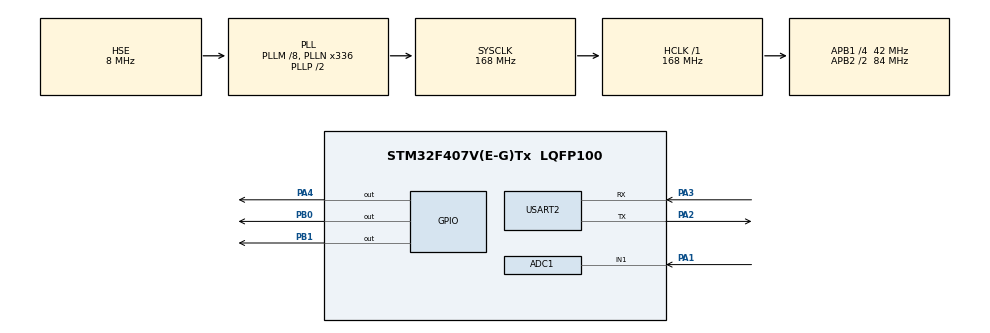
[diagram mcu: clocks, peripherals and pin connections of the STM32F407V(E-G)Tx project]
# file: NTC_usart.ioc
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ADC1.Channel-0\#ChannelRegularConversion=ADC_CHANNEL_1
ADC1.NbrOfConversionFlag=1
ADC1.Rank-0\#ChannelRegularConversion=1
ADC1.SamplingTime-0\#ChannelRegularConversion=ADC_SAMPLETIME_3CYCLES
ADC1.master=1
Mcu.Family=STM32F4
Mcu.Name=STM32F407V(E-G)Tx
Mcu.Package=LQFP100
NVIC.PriorityGroup=NVIC_PRIORITYGROUP_0
PA1.GPIO_PuPd=GPIO_NOPULL
PA1.Signal=ADCx_IN1
PA13.Mode=Serial_Wire
PA13.Signal=SYS_JTMS-SWDIO
PA14.Mode=Serial_Wire
PA14.Signal=SYS_JTCK-SWCLK
PA2.Mode=Asynchronous
PA2.Signal=USART2_TX
PA3.Mode=Asynchronous
PA3.Signal=USART2_RX
PA4.Signal=GPIO_Output
PB0.PinState=GPIO_PIN_SET
PB0.Signal=GPIO_Output
PB1.PinState=GPIO_PIN_SET
PB1.Signal=GPIO_Output
PH0-OSC_IN.Mode=HSE-External-Oscillator
PH0-OSC_IN.Signal=RCC_OSC_IN
PH1-OSC_OUT.Mode=HSE-External-Oscillator
PH1-OSC_OUT.Signal=RCC_OSC_OUT
ProjectManager.HeapSize=0x200
ProjectManager.StackSize=0x400
ProjectManager.TargetToolchain=STM32CubeIDE
RCC.48MHZClocksFreq_Value=48000000
RCC.AHBFreq_Value=168000000
RCC.APB1CLKDivider=RCC_HCLK_DIV4
RCC.APB1Freq_Value=42000000
RCC.APB1TimFreq_Value=84000000
RCC.APB2CLKDivider=RCC_HCLK_DIV2
RCC.APB2Freq_Value=84000000
RCC.APB2TimFreq_Value=168000000
RCC.CortexFreq_Value=168000000
RCC.HCLKFreq_Value=168000000
RCC.HSE_VALUE=8000000
RCC.HSI_VALUE=16000000
RCC.LSE_VALUE=32768
RCC.PLLM=8
RCC.PLLN=336
RCC.PLLQ=7
RCC.PLLSourceVirtual=RCC_PLLSOURCE_HSE
RCC.SYSCLKFreq_VALUE=168000000
RCC.SYSCLKSource=RCC_SYSCLKSOURCE_PLLCLK
RCC.VCOOutputFreq_Value=336000000
SH.ADCx_IN1.0=ADC1_IN1,IN1
USART2.VirtualMode=VM_ASYNC
board=STM32F407G-DISC1

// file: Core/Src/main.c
/* USER CODE BEGIN Header */
/**
  ******************************************************************************
  * @file           : main.c
  * @brief          : Main program body
  ******************************************************************************
  * @attention
  *
  * Copyright (c) 2023 STMicroelectronics.
  * All rights reserved.
  *
  * This software is licensed under terms that can be found in the LICENSE file
  * in the root directory of this software component.
  * If no LICENSE file comes with this software, it is provided AS-IS.
  *
  ******************************************************************************
  */
/* USER CODE END Header */
#include "main.h"
#include "stdio.h"
#include "math.h"

ADC_HandleTypeDef hadc1;

UART_HandleTypeDef huart2;

/* USER CODE BEGIN PV */
uint16_t adcValue=0;
uint16_t temperature=0;
char message[25];
char uyari[30]="SICAKLIK UYGUN DEGİL!!\n";
char sogutma[30]="ORTAM SOGUTULUYOR\n";
/* USER CODE END PV */

void SystemClock_Config(void);
static void MX_GPIO_Init(void);
static void MX_ADC1_Init(void);
static void MX_USART2_UART_Init(void);

/* USER CODE BEGIN 0 */
uint16_t adcRead(){
	HAL_ADC_Start(&hadc1);
	 if(HAL_ADC_PollForConversion(&hadc1, 100)==HAL_OK){
		 adcValue=HAL_ADC_GetValue(&hadc1);
	 }
	 HAL_ADC_Stop(&hadc1);
	 return adcValue;
}
double fhToCn(uint16_t adcValue){
	double temp=0;
	temp=log(((40950000/adcValue)-10000));
	temp=1/(0.001129148 +(0.000234125  +(0.0000000876741*temp*temp))*temp);
	temp=temp-273.15;
	return temp;

}

/* USER CODE END 0 */

int main(void)
{

  /* MCU Configuration--------------------------------------------------------*/

  /* Reset of all peripherals, Initializes the Flash interface and the Systick. */
  HAL_Init();

  /* Configure the system clock */
  SystemClock_Config();

  /* Initialize all configured peripherals */
  MX_GPIO_Init();
  MX_ADC1_Init();
  MX_USART2_UART_Init();

  /* Infinite loop */
  while (1)
  {

    /* USER CODE BEGIN 3 */
	  adcValue=adcRead();
	  temperature=fhToCn(adcValue);
	  sprintf(message,"Sıcaklık Değeri: %d\n",temperature);
	  /*HAL_UART_Transmit(&huart2, (uint8_t*)message,sizeof(message),100);
	  HAL_Delay(400);*/
	  if(temperature>0 && temperature<=45){
		  HAL_UART_Transmit(&huart2, (uint8_t*)message,sizeof(message),100);
		  HAL_Delay(100);

		  if(temperature>30){
			  HAL_GPIO_WritePin(GPIOB, GPIO_PIN_0, GPIO_PIN_SET);
			  HAL_GPIO_WritePin(GPIOB, GPIO_PIN_1, GPIO_PIN_RESET);
			  HAL_UART_Transmit(&huart2, (uint8_t*)sogutma,sizeof(sogutma),100);
			  HAL_Delay(500);
			  HAL_UART_Transmit(&huart2, (uint8_t*)message,sizeof(message),100);

		  }
		  else if(temperature<=39){

			  HAL_GPIO_WritePin(GPIOB, GPIO_PIN_0, GPIO_PIN_RESET);
			  HAL_GPIO_WritePin(GPIOB, GPIO_PIN_1, GPIO_PIN_RESET);

		  }

		  //HAL_GPIO_WritePin(GPIOA, GPIO_PIN_4, GPIO_PIN_RESET);
	  }
	  else{
		  HAL_UART_Transmit(&huart2, (uint8_t*)message,sizeof(message),100);
		  HAL_Delay(400);
		  HAL_UART_Transmit(&huart2, (uint8_t*)uyari,sizeof(uyari),100);
		  HAL_Delay(400);

		  //HAL_GPIO_WritePin(GPIOA, GPIO_PIN_4, GPIO_PIN_SET);

	  }

  }
  /* USER CODE END 3 */
}

void SystemClock_Config(void)
{
  RCC_OscInitTypeDef RCC_OscInitStruct = {0};
  RCC_ClkInitTypeDef RCC_ClkInitStruct = {0};

  /** Configure the main internal regulator output voltage
  */
  __HAL_RCC_PWR_CLK_ENABLE();
  __HAL_PWR_VOLTAGESCALING_CONFIG(PWR_REGULATOR_VOLTAGE_SCALE1);

  /** Initializes the RCC Oscillators according to the specified parameters
  * in the RCC_OscInitTypeDef structure.
  */
  RCC_OscInitStruct.OscillatorType = RCC_OSCILLATORTYPE_HSE;
  RCC_OscInitStruct.HSEState = RCC_HSE_ON;
  RCC_OscInitStruct.PLL.PLLState = RCC_PLL_ON;
  RCC_OscInitStruct.PLL.PLLSource = RCC_PLLSOURCE_HSE;
  RCC_OscInitStruct.PLL.PLLM = 8;
  RCC_OscInitStruct.PLL.PLLN = 336;
  RCC_OscInitStruct.PLL.PLLP = RCC_PLLP_DIV2;
  RCC_OscInitStruct.PLL.PLLQ = 7;
  if (HAL_RCC_OscConfig(&RCC_OscInitStruct) != HAL_OK)
  {
    Error_Handler();
  }

  /** Initializes the CPU, AHB and APB buses clocks
  */
  RCC_ClkInitStruct.ClockType = RCC_CLOCKTYPE_HCLK|RCC_CLOCKTYPE_SYSCLK
                              |RCC_CLOCKTYPE_PCLK1|RCC_CLOCKTYPE_PCLK2;
  RCC_ClkInitStruct.SYSCLKSource = RCC_SYSCLKSOURCE_PLLCLK;
  RCC_ClkInitStruct.AHBCLKDivider = RCC_SYSCLK_DIV1;
  RCC_ClkInitStruct.APB1CLKDivider = RCC_HCLK_DIV4;
  RCC_ClkInitStruct.APB2CLKDivider = RCC_HCLK_DIV2;

  if (HAL_RCC_ClockConfig(&RCC_ClkInitStruct, FLASH_LATENCY_5) != HAL_OK)
  {
    Error_Handler();
  }
}

static void MX_ADC1_Init(void)
{

  ADC_ChannelConfTypeDef sConfig = {0};

  /** Configure the global features of the ADC (Clock, Resolution, Data Alignment and number of conversion)
  */
  hadc1.Instance = ADC1;
  hadc1.Init.ClockPrescaler = ADC_CLOCK_SYNC_PCLK_DIV4;
  hadc1.Init.Resolution = ADC_RESOLUTION_12B;
  hadc1.Init.ScanConvMode = DISABLE;
  hadc1.Init.ContinuousConvMode = DISABLE;
  hadc1.Init.DiscontinuousConvMode = DISABLE;
  hadc1.Init.ExternalTrigConvEdge = ADC_EXTERNALTRIGCONVEDGE_NONE;
  hadc1.Init.ExternalTrigConv = ADC_SOFTWARE_START;
  hadc1.Init.DataAlign = ADC_DATAALIGN_RIGHT;
  hadc1.Init.NbrOfConversion = 1;
  hadc1.Init.DMAContinuousRequests = DISABLE;
  hadc1.Init.EOCSelection = ADC_EOC_SINGLE_CONV;
  if (HAL_ADC_Init(&hadc1) != HAL_OK)
  {
    Error_Handler();
  }

  /** Configure for the selected ADC regular channel its corresponding rank in the sequencer and its sample time.
  */
  sConfig.Channel = ADC_CHANNEL_1;
  sConfig.Rank = 1;
  sConfig.SamplingTime = ADC_SAMPLETIME_3CYCLES;
  if (HAL_ADC_ConfigChannel(&hadc1, &sConfig) != HAL_OK)
  {
    Error_Handler();
  }

}

static void MX_USART2_UART_Init(void)
{

  huart2.Instance = USART2;
  huart2.Init.BaudRate = 115200;
  huart2.Init.WordLength = UART_WORDLENGTH_8B;
  huart2.Init.StopBits = UART_STOPBITS_1;
  huart2.Init.Parity = UART_PARITY_NONE;
  huart2.Init.Mode = UART_MODE_TX_RX;
  huart2.Init.HwFlowCtl = UART_HWCONTROL_NONE;
  huart2.Init.OverSampling = UART_OVERSAMPLING_16;
  if (HAL_UART_Init(&huart2) != HAL_OK)
  {
    Error_Handler();
  }

}

static void MX_GPIO_Init(void)
{
  GPIO_InitTypeDef GPIO_InitStruct = {0};

  /* GPIO Ports Clock Enable */
  __HAL_RCC_GPIOH_CLK_ENABLE();
  __HAL_RCC_GPIOA_CLK_ENABLE();
  __HAL_RCC_GPIOB_CLK_ENABLE();

  /*Configure GPIO pin Output Level */
  HAL_GPIO_WritePin(GPIOA, GPIO_PIN_4, GPIO_PIN_RESET);

  /*Configure GPIO pin Output Level */
  HAL_GPIO_WritePin(GPIOB, GPIO_PIN_0|GPIO_PIN_1, GPIO_PIN_SET);

  /*Configure GPIO pin : PA4 */
  GPIO_InitStruct.Pin = GPIO_PIN_4;
  GPIO_InitStruct.Mode = GPIO_MODE_OUTPUT_PP;
  GPIO_InitStruct.Pull = GPIO_NOPULL;
  GPIO_InitStruct.Speed = GPIO_SPEED_FREQ_LOW;
  HAL_GPIO_Init(GPIOA, &GPIO_InitStruct);

  /*Configure GPIO pins : PB0 PB1 */
  GPIO_InitStruct.Pin = GPIO_PIN_0|GPIO_PIN_1;
  GPIO_InitStruct.Mode = GPIO_MODE_OUTPUT_PP;
  GPIO_InitStruct.Pull = GPIO_NOPULL;
  GPIO_InitStruct.Speed = GPIO_SPEED_FREQ_LOW;
  HAL_GPIO_Init(GPIOB, &GPIO_InitStruct);

}

void Error_Handler(void)
{
  __disable_irq();
  while (1)
  {
  }
}
